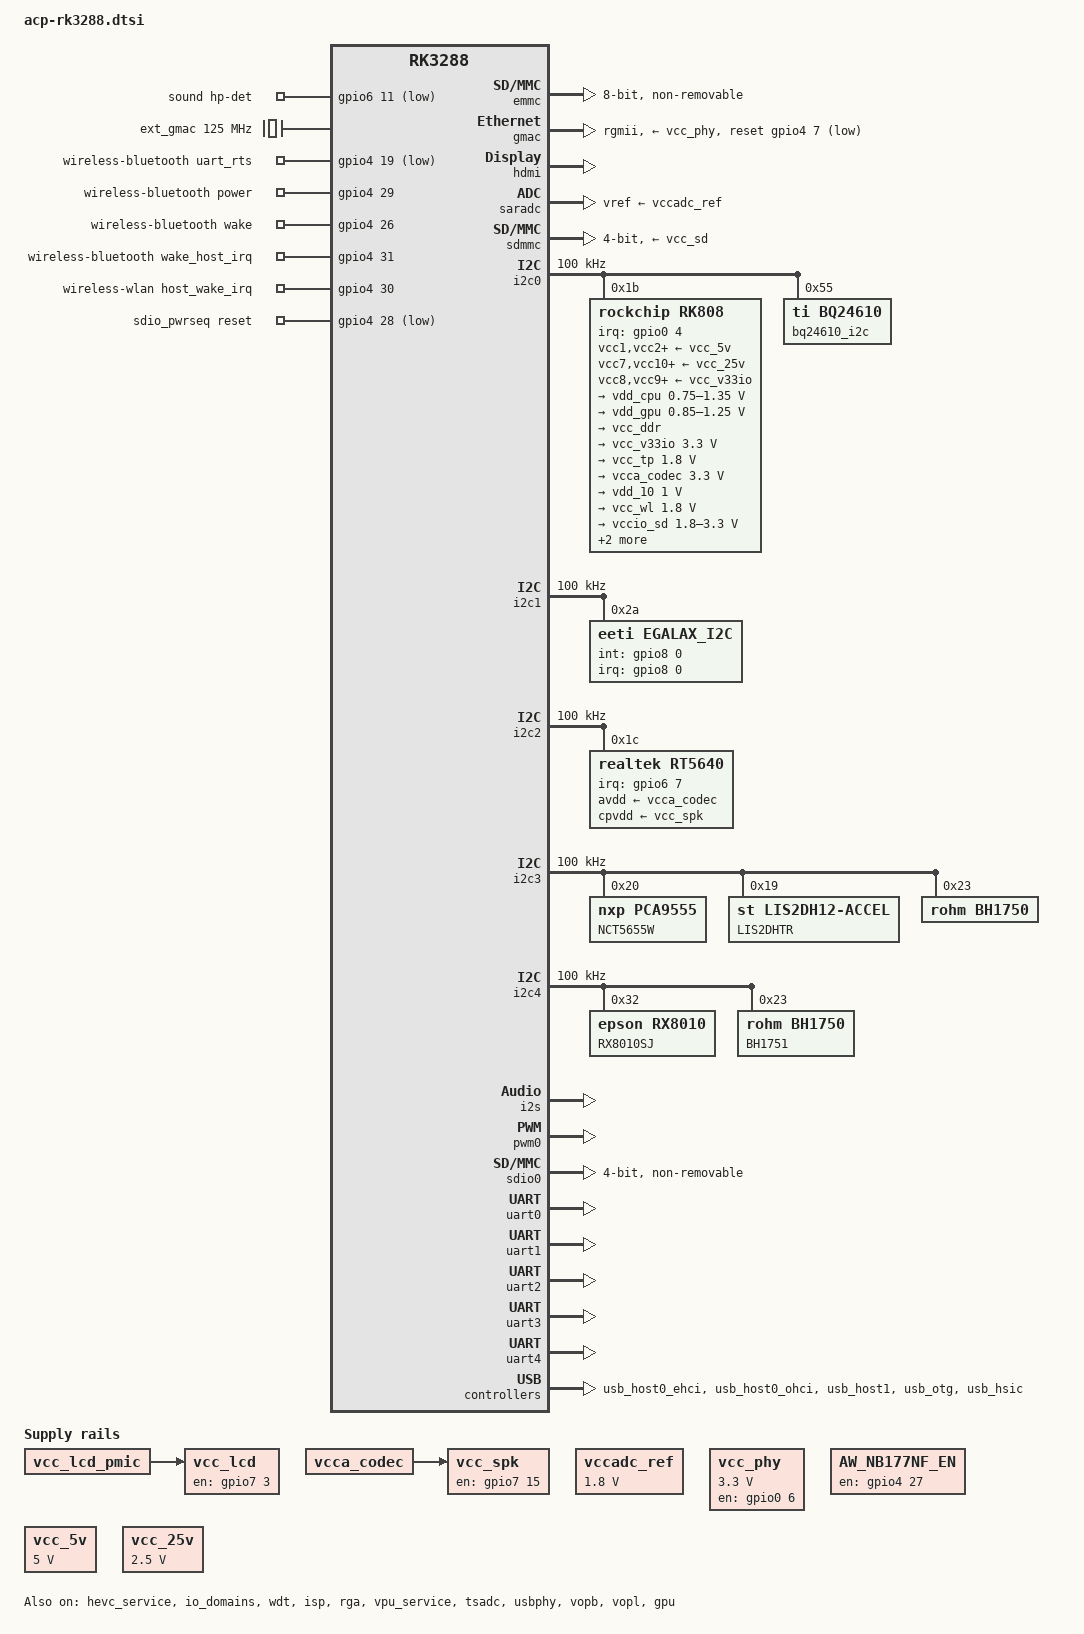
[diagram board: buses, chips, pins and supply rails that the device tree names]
/*
 * Copyright (c) 2015~2017 Fuzhou Rockchip Electronics Co., Ltd
 *
 * This file is dual-licensed: you can use it either under the terms
 * of the GPL or the X11 license, at your option. Note that this dual
 * licensing only applies to this file, and not this project as a
 * whole.
 *
 *  a) This file is free software; you can redistribute it and/or
 *     modify it under the terms of the GNU General Public License as
 *     published by the Free Software Foundation; either version 2 of the
 *     License, or (at your option) any later version.
 *
 *     This file is distributed in the hope that it will be useful,
 *     but WITHOUT ANY WARRANTY; without even the implied warranty of
 *     MERCHANTABILITY or FITNESS FOR A PARTICULAR PURPOSE.  See the
 *     GNU General Public License for more details.
 *
 * Or, alternatively,
 *
 *  b) Permission is hereby granted, free of charge, to any person
 *     obtaining a copy of this software and associated documentation
 *     files (the "Software"), to deal in the Software without
 *     restriction, including without limitation the rights to use,
 *     copy, modify, merge, publish, distribute, sublicense, and/or
 *     sell copies of the Software, and to permit persons to whom the
 *     Software is furnished to do so, subject to the following
 *     conditions:
 *
 *     The above copyright notice and this permission notice shall be
 *     included in all copies or substantial portions of the Software.
 *
 *     THE SOFTWARE IS PROVIDED "AS IS", WITHOUT WARRANTY OF ANY KIND,
 *     EXPRESS OR IMPLIED, INCLUDING BUT NOT LIMITED TO THE WARRANTIES
 *     OF MERCHANTABILITY, FITNESS FOR A PARTICULAR PURPOSE AND
 *     NONINFRINGEMENT. IN NO EVENT SHALL THE AUTHORS OR COPYRIGHT
 *     HOLDERS BE LIABLE FOR ANY CLAIM, DAMAGES OR OTHER LIABILITY,
 *     WHETHER IN AN ACTION OF CONTRACT, TORT OR OTHERWISE, ARISING
 *     FROM, OUT OF OR IN CONNECTION WITH THE SOFTWARE OR THE USE OR
 *     OTHER DEALINGS IN THE SOFTWARE.
 */

#include <dt-bindings/pwm/pwm.h>
#include <dt-bindings/input/input.h>
#include "rk3288.dtsi"

/ {
	chosen {
		bootargs = "earlycon=uart8250,mmio32,0xff690000 swiotlb=1";
	};

	edp_panel: edp-panel {
		status = "disabled";

		ports {
			panel_in_edp: endpoint {
				remote-endpoint = <&edp_out_panel>;
			};
		};
	};

	lvds_panel: lvds-panel {
		status = "disabled";
		ports {
			panel_in_lvds: endpoint {
				remote-endpoint = <&lvds_out_panel>;
			};
		};
	};

	sound: sound {
		compatible = "simple-audio-card";
		pinctrl-0 = <&audio_det_pin>;
		simple-audio-card,format = "i2s";
		simple-audio-card,name = "rockchip,rt5640-codec";
		simple-audio-card,mclk-fs = <512>;
		simple-audio-card,widgets =
			"Microphone", "Mic Jack",
			"Microphone", "DMic",
			"Headphone", "Headphone Jack",
			"Speaker", "Speaker";
		simple-audio-card,routing =
			"Mic Jack", "MICBIAS1",
			"IN2P", "Mic Jack",
			"IN2N", "Mic Jack",
			"IN1P", "DMic",
			"Headphone Jack", "HPOL",
			"Headphone Jack", "HPOR",
			"Speaker", "SPOLP",
			"Speaker", "SPOLN",
			"Speaker", "SPORP",
			"Speaker", "SPORN";
		simple-audio-card,hp-det-gpio = <&gpio6 11 GPIO_ACTIVE_LOW>;
		/*simple-audio-card,mic-det-gpio = <&gpio0 11 GPIO_ACTIVE_LOW>;*/

		simple-audio-card,dai-link@0 {
			format = "i2s";
			cpu {
				sound-dai = <&i2s>;
			};

			codec {
				sound-dai = <&rt5640>;
			};
		};

		simple-audio-card,dai-link@1 {
			format = "i2s";
			cpu {
				sound-dai = <&i2s>;
			};

			codec {
				sound-dai = <&hdmi>;
			};
		};
	};

	ext_gmac: external-gmac-clock {
		compatible = "fixed-clock";
		clock-frequency = <125000000>;
		clock-output-names = "ext_gmac";
		#clock-cells = <0>;
	};

	vccadc_ref: vccadc-ref {
		compatible = "regulator-fixed";
		regulator-name = "vcc1v8_sys";
		regulator-always-on;
		regulator-boot-on;
		regulator-min-microvolt = <1800000>;
		regulator-max-microvolt = <1800000>;
	};

	vcc_lcd: vcc-lcd {
		compatible = "regulator-fixed";
		regulator-boot-on;
		enable-active-high;
		gpio = <&gpio7 3 GPIO_ACTIVE_HIGH>;
		pinctrl-names = "default";
		pinctrl-0 = <&lcd_en>;
		regulator-name = "vcc_lcd";
		vin-supply = <&vcc_lcd_pmic>;
	};

	vcc_spk: vcc-spk {
		compatible = "regulator-fixed";
		regulator-boot-on;
		enable-active-high;
		gpio = <&gpio7 15 GPIO_ACTIVE_HIGH>;
		pinctrl-names = "default";
		pinctrl-0 = <&spk_en>;
		regulator-name = "vcc_spk";
		vin-supply = <&vcca_codec>;
	};

	vcc_phy: vcc-phy-regulator {
		compatible = "regulator-fixed";
		gpio = <&gpio0 6 GPIO_ACTIVE_HIGH>;
		pinctrl-0 = <&eth_phy_pwr>;
		enable-active-high;
		pinctrl-names = "default";
		regulator-name = "vcc_phy";
		regulator-min-microvolt = <3300000>;
		regulator-max-microvolt = <3300000>;
		regulator-always-on;
		regulator-boot-on;
	};

	AW_NB177NF_EN: aw-nb177nf {
		compatible = "regulator-fixed";
		pinctrl-names = "default";
		gpio = <&gpio4 27 GPIO_ACTIVE_LOW>;
		enable-active-high;
		regulator-name = "AW_NB177NF";
		regulator-always-on;
		regulator-boot-on;
	};

	wireless-bluetooth {
		compatible = "bluetooth-platdata";
		uart_rts_gpios = <&gpio4 19 GPIO_ACTIVE_LOW>;
		pinctrl-names = "default", "rts_gpio";
		clock-names = "ext_clock";
		pinctrl-0 = <&uart0_rts>;
		pinctrl-1 = <&uart0_gpios>;
		BT,power_gpio		= <&gpio4 29 GPIO_ACTIVE_HIGH>;
		BT,wake_gpio		= <&gpio4 26 GPIO_ACTIVE_HIGH>;
		BT,wake_host_irq	= <&gpio4 31 GPIO_ACTIVE_HIGH>;
		status = "okay";
	};

	wireless-wlan {
		compatible = "wlan-platdata";
		rockchip,grf = <&grf>;
		wifi_chip_type = "rtl8723bs";
		sdio_vref = <1800>;
		WIFI,host_wake_irq = <&gpio4 30 GPIO_ACTIVE_HIGH>;
		status = "okay";
	};

	sdio_pwrseq: sdio-pwrseq {
		compatible = "mmc-pwrseq-simple";
		clocks = <&rk808 1>;
		clock-names = "ext_clock";
		pinctrl-names = "default";
		pinctrl-0 = <&wifi_enable_h>;

		/*
		 * On the module itself this is one of these (depending
		 * on the actual card populated):
		 * - SDIO_RESET_L_WL_REG_ON
		 * - PDN (power down when low)
		 */
		reset-gpios = <&gpio4 28 GPIO_ACTIVE_LOW>;
	};

	bt_host_wake: bt-host-wake {
		rockchip,pins = <4 31 RK_FUNC_GPIO &pcfg_pull_up>;
	};

	vcc_5v: vsys-regulator {
		compatible = "regulator-fixed";
		regulator-name = "vcc_5v";
		regulator-min-microvolt = <5000000>;
		regulator-max-microvolt = <5000000>;
		regulator-always-on;
		regulator-boot-on;
	};

	vcc_25v: vcc25v-regulator {
		compatible = "regulator-fixed";
		regulator-name = "vcc_25v";
		regulator-min-microvolt = <2500000>;
		regulator-max-microvolt = <2500000>;
		regulator-always-on;
		regulator-boot-on;
	};
};

&emmc {
	bus-width = <8>;
	cap-mmc-highspeed;
	disable-wp;
	non-removable;
	num-slots = <1>;
	pinctrl-names = "default";
	pinctrl-0 = <&emmc_clk &emmc_cmd &emmc_pwr &emmc_bus8>;
	max-frequency = <100000000>;
	mmc-hs200-1_8v;
	mmc-ddr-1_8v;
	status = "okay";
};

&gmac {
	phy-supply = <&vcc_phy>;
	phy-mode = "rgmii";
	clock_in_out = "input";
	snps,reset-gpio = <&gpio4 7 0>;
	snps,reset-active-low;
	snps,reset-delays-us = <0 10000 50000>;
	assigned-clocks = <&cru SCLK_MAC>;
	assigned-clock-parents = <&ext_gmac>;
	pinctrl-names = "default";
	pinctrl-0 = <&rgmii_pins>;
	tx_delay = <0x20>;
	rx_delay = <0x01>;
	status = "okay";
};

&hdmi {
	#address-cells = <1>;
	#size-cells = <0>;
	#sound-dai-cells = <0>;
	status = "okay";
};

&saradc {
	vref-supply = <&vccadc_ref>;
	status = "okay";
};

&sdmmc {
	supports-sd;
	bus-width = <4>;
	cap-mmc-highspeed;
	cap-sd-highspeed;
	sd-uhs-sdr104;
	card-detect-delay = <200>;
	disable-wp;			/* wp not hooked up */
	num-slots = <1>;
	pinctrl-names = "default";
	pinctrl-0 = <&sdmmc_clk &sdmmc_cmd &sdmmc_cd &sdmmc_bus4>;
	status = "okay";
	vmmc-supply = <&vcc_sd>;
	vqmmc-supply = <&vccio_sd>;
};

&edp {
	force-hpd;
	status = "disabled";

	ports {
		edp_out: port@1 {
			reg = <1>;
			#address-cells = <1>;
			#size-cells = <0>;
			edp_out_panel: endpoint {
				reg = <0>;
				remote-endpoint = <&panel_in_edp>;
			};
		};
	};
};

&hevc_service {
	status = "okay";
};

&i2c0 {
	clock-frequency = <100000>;
	status = "okay";

	rk808: pmic@1b {
		compatible = "rockchip,rk808";
		reg = <0x1b>;
		interrupt-parent = <&gpio0>;
		interrupts = <4 IRQ_TYPE_LEVEL_LOW>;
		pinctrl-names = "default";
		pinctrl-0 = <&pmic_int &global_pwroff>;
		rockchip,system-power-controller;
		wakeup-source;
		#clock-cells = <1>;
		clock-output-names = "xin32k", "rk808-clkout2";

		vcc1-supply = <&vcc_5v>; // 5
		vcc2-supply = <&vcc_5v>; // 5
		vcc3-supply = <&vcc_5v>; // 5
		vcc4-supply = <&vcc_5v>; // 5
		vcc6-supply = <&vcc_5v>; // 5
		vcc7-supply = <&vcc_25v>; // 2.5
		vcc8-supply = <&vcc_v33io>; // 3.3
		vcc9-supply = <&vcc_v33io>; // 3.3
		vcc10-supply = <&vcc_25v>; // 2.5
		vcc11-supply = <&vcc_25v>; // 2.5
		vcc12-supply = <&vcc_v33io>; // 3.3
		vddio-supply = <&vcc_v33io>; // 3.3

		regulators {
			vdd_cpu: DCDC_REG1 {
				regulator-always-on;
				regulator-boot-on;
				regulator-min-microvolt = <750000>;
				regulator-max-microvolt = <1350000>;
				regulator-name = "vdd_arm";
				regulator-state-mem {
					regulator-off-in-suspend;
				};
			};

			vdd_gpu: DCDC_REG2 {
				regulator-always-on;
				regulator-boot-on;
				regulator-min-microvolt = <850000>;
				regulator-max-microvolt = <1250000>;
				regulator-name = "vdd_gpu";
				regulator-ramp-delay = <6000>;
				regulator-state-mem {
					regulator-on-in-suspend;
					regulator-suspend-microvolt = <1000000>;
				};
			};

			vcc_ddr: DCDC_REG3 {
				regulator-always-on;
				regulator-boot-on;
				regulator-name = "vcc_ddr";
				regulator-state-mem {
					regulator-on-in-suspend;
				};
			};

			vcc_v33io: DCDC_REG4 {
				regulator-always-on;
				regulator-boot-on;
				regulator-min-microvolt = <3300000>;
				regulator-max-microvolt = <3300000>;
				regulator-name = "vcc_v33io";
				regulator-state-mem {
					regulator-on-in-suspend;
					regulator-suspend-microvolt = <3300000>;
				};
			};

			vcc_tp: LDO_REG1 {
				regulator-always-on;
				regulator-boot-on;
				regulator-min-microvolt = <1800000>;
				regulator-max-microvolt = <1800000>;
				regulator-name = "vcc_tp";
				regulator-state-mem {
					regulator-off-in-suspend;
				};
			};

			vcca_codec: LDO_REG2 {
				regulator-always-on;
				regulator-boot-on;
				regulator-min-microvolt = <3300000>;
				regulator-max-microvolt = <3300000>;
				regulator-name = "vcca_codec";
				regulator-state-mem {
					regulator-on-in-suspend;
					regulator-suspend-microvolt = <3300000>;
				};
			};

			vdd_10: LDO_REG3 {
				regulator-always-on;
				regulator-boot-on;
				regulator-min-microvolt = <1000000>;
				regulator-max-microvolt = <1000000>;
				regulator-name = "vdd_10";
				regulator-state-mem {
					regulator-on-in-suspend;
					regulator-suspend-microvolt = <1000000>;
				};
			};

			vcc_wl: LDO_REG4 {
				regulator-always-on;
				regulator-boot-on;
				regulator-min-microvolt = <1800000>;
				regulator-max-microvolt = <1800000>;
				regulator-name = "vcc_wl";
				regulator-state-mem {
					regulator-on-in-suspend;
					regulator-suspend-microvolt = <1800000>;
				};
			};

			vccio_sd: LDO_REG5 {
				regulator-always-on;
				regulator-boot-on;
				regulator-min-microvolt = <1800000>;
				regulator-max-microvolt = <3300000>;
				regulator-name = "vccio_sd";
				regulator-state-mem {
					regulator-on-in-suspend;
					regulator-suspend-microvolt = <3300000>;
				};
			};

			vdd10_lcd: LDO_REG6 {
				regulator-always-on;
				regulator-boot-on;
				regulator-min-microvolt = <1100000>;
				regulator-max-microvolt = <1100000>;
				regulator-name = "vdd10_lcd";
				regulator-state-mem {
					regulator-on-in-suspend;
					regulator-suspend-microvolt = <1100000>;
				};
			};

			vcc_18: LDO_REG7 {
				regulator-always-on;
				regulator-boot-on;
				regulator-min-microvolt = <1800000>;
				regulator-max-microvolt = <1800000>;
				regulator-name = "vcc_18";
				regulator-state-mem {
					regulator-on-in-suspend;
					regulator-suspend-microvolt = <1800000>;
				};
			};

			vcc18_lcd: LDO_REG8 {
				regulator-always-on;
				regulator-boot-on;
				regulator-min-microvolt = <1800000>;
				regulator-max-microvolt = <1800000>;
				regulator-name = "vcc18_lcd";
				regulator-state-mem {
					regulator-on-in-suspend;
					regulator-suspend-microvolt = <1800000>;
				};
			};

			vcc_sd: SWITCH_REG1 {
				regulator-always-on;
				regulator-boot-on;
				regulator-name = "vcc_sd";
				regulator-state-mem {
					regulator-on-in-suspend;
				};
			};

			vcc_lcd_pmic: SWITCH_REG2 {
				regulator-always-on;
				regulator-boot-on;
				regulator-name = "vcc_lcd_pmic";
				regulator-state-mem {
					regulator-on-in-suspend;
				};
			};
		};
	};

	bq24610_i2c@55 {
		compatible = "ti,bq24610";
		reg = <0x55>;
		status = "okay";
	};
};

&i2c1 {
	clock-frequency = <100000>;
	status = "okay";

	egalax_i2c@2a {
		compatible = "eeti,egalax_i2c";
		reg = <0x2a>;
		interrupt-parent = <&gpio8>;
		interrupts = <0 8>;
		int-gpios = <&gpio8 0 IRQ_TYPE_LEVEL_LOW>;
	};
};

&i2c2 {
	clock-frequency = <100000>;
	status = "okay";

	rt5640: rt5640@1c {
		#sound-dai-cells = <0>;
		compatible = "realtek,rt5640";
		reg = <0x1c>;
		clocks = <&cru SCLK_I2S0_OUT>;
		clock-names = "mclk";
		interrupt-parent = <&gpio6>;
		interrupts = <7 IRQ_TYPE_EDGE_FALLING>;
		pinctrl-names = "default";
		pinctrl-0 = <&i2s0_mclk>;
		avdd-supply = <&vcca_codec>;
		cpvdd-supply = <&vcc_spk>;
	};
};

&i2c3 {
	clock-frequency = <100000>;
	status = "okay";

	NCT5655W: pca9555@20 {
		compatible = "nxp,pca9555";
		reg = <0x20>;
		gpio-controller;
	};

	LIS2DHTR: lis2dhtr@19 {
		compatible = "st,lis2dh12-accel";
		reg = <0x19>;
	};

	BH1750: bh1750@23 {
		compatible = "rohm,bh1750";
		reg = <0x23>;
	};
};

&i2c4 {
	clock-frequency = <100000>;
	status = "okay";

	RX8010SJ: rx8010sj@32 {
		compatible = "epson,rx8010";
		reg = <0x32>;
	};

	BH1751: bh1751@23 {
		compatible = "rohm,bh1750";
		reg = <0x23>;
	};
};

&i2s {
	#sound-dai-cells = <0>;
	status = "okay";
};

&io_domains {
	status = "okay";

	audio-supply = <&vcc_18>;
	sdcard-supply = <&vccio_sd>;
	wifi-supply = <&vcc_18>;
};

&wdt {
	status = "okay";
};

&pwm0 {
	status = "okay";
};

&isp {
	status = "okay";
};

&isp_mmu {
	status = "okay";
};

&rga {
	status = "okay";
};

&sdio0 {
	status = "okay";

	clock-frequency = <50000000>;
	clock-freq-min-max = <200000 50000000>;

	bus-width = <4>;
	cap-sd-highspeed;
	cap-sdio-irq;
	disable-wp;
	keep-power-in-suspend;
	mmc-pwrseq = <&sdio_pwrseq>;
	non-removable;
	num-slots = <1>;
	pinctrl-names = "default";
	pinctrl-0 = <&sdio0_bus4 &sdio0_cmd &sdio0_clk &sdio0_int &wireless_gpios>;
	sd-uhs-sdr104;
	supports-sdio;
};

&uart0 {
	pinctrl-names = "default";
	pinctrl-0 = <&uart0_xfer &uart0_cts>;
	status = "okay";
};

&uart1 {
	status = "okay";
};

&uart2 {
	status = "okay";
};

&uart3 {
	pinctrl-names = "default";
	pinctrl-0 = <&uart3_xfer &uart3_cts>;
	status = "okay";
};

&uart4 {
	status = "okay";
};

&vpu_service {
	status = "okay";
};

&tsadc {
	rockchip,hw-tshut-mode = <0>; /* tshut mode 0:CRU 1:GPIO */
	rockchip,hw-tshut-polarity = <1>; /* tshut polarity 0:LOW 1:HIGH */
	pinctrl-1 = <&otp_gpio>;

	status = "okay";
};

&usbphy {
	status = "okay";
};

&usb_host0_ehci {
	pinctrl-0 = <&usb_typeAB &usb_camera &usb_reset &usb_musb1>;
	rockchip-relinquish-port;
	status = "okay";
};

&usb_host0_ohci {
	status = "okay";
};

&usb_host1 {
	status = "okay";
};

&usb_otg {
	status = "okay";
};

&usb_hsic {
	status = "okay";
};

&lvds {
	status = "disabled";
	ports {
		lvds_out: port@1 {
			reg = <1>;
			#address-cells = <1>;
			#size-cells = <0>;

			lvds_out_panel: endpoint@0 {
				reg = <0>;
				remote-endpoint = <&panel_in_lvds>;
			};
		};
	};
};

&vopb {
	status = "okay";
};

&vopb_mmu {
	status = "okay";
};

&vopl {
	status = "okay";
};

&vopl_mmu {
	status = "okay";
};

&cpu0 {
	cpu0-supply = <&vdd_cpu>;
};

&gpu {
	status = "okay";
	mali-supply = <&vdd_gpu>;
};

&rockchip_suspend {
	status = "okay";
};

&pinctrl {
	pcfg_pull_none_drv_8ma: pcfg-pull-none-drv-8ma {
		drive-strength = <8>;
	};

	pcfg_pull_up_drv_8ma: pcfg-pull-up-drv-8ma {
		bias-pull-up;
		drive-strength = <8>;
	};

	pmic {
		pmic_int: pmic-int {
			rockchip,pins = <RK_GPIO0 4 RK_FUNC_GPIO &pcfg_pull_up>;
		};
	};

	touch_pin {
		touch_int: touch-int {
			rockchip,pins = <8 0 RK_FUNC_GPIO &pcfg_pull_up>;
		};
		touch_rst: touch-rst {
			rockchip,pins = <8 1 RK_FUNC_GPIO &pcfg_pull_up>;
		};
	};

	sdio-pwrseq {
		wifi_enable_h: wifi-enable-h {
			rockchip,pins = <4 28 RK_FUNC_GPIO &pcfg_pull_none>;
		};
	};

	sdmmc {
		/*
		 * Default drive strength isn't enough to achieve even
		 * high-speed mode on EVB board so bump up to 8ma.
		 */
		sdmmc_bus4: sdmmc-bus4 {
			rockchip,pins = <6 16 RK_FUNC_1 &pcfg_pull_up_drv_8ma>,
					<6 17 RK_FUNC_1 &pcfg_pull_up_drv_8ma>,
					<6 18 RK_FUNC_1 &pcfg_pull_up_drv_8ma>,
					<6 19 RK_FUNC_1 &pcfg_pull_up_drv_8ma>;
		};

		sdmmc_clk: sdmmc-clk {
			rockchip,pins = <6 20 RK_FUNC_1 &pcfg_pull_none_drv_8ma>;
		};

		sdmmc_cmd: sdmmc-cmd {
			rockchip,pins = <6 21 RK_FUNC_1 &pcfg_pull_up_drv_8ma>;
		};

		sdmmc_pwr: sdmmc-pwr {
			rockchip,pins = <7 11 RK_FUNC_GPIO &pcfg_pull_none>;
		};
	};

	lcd {
		lcd_en: lcd-en  {
			rockchip,pins = <7 3 RK_FUNC_GPIO &pcfg_pull_none>,
				<8 8 RK_FUNC_GPIO &pcfg_pull_none>;
		};
	};

	pmic {
		pmic_int: pmic-int {
			rockchip,pins = <0 4 RK_FUNC_GPIO &pcfg_pull_up>;
		};
	};

	usb_h1_en {
		usb_typeAB: usb-typeAB {
			rockchip,pins = <7 13 RK_FUNC_GPIO &pcfg_pull_none>;
		};

		usb_camera: usb-camera {
			rockchip,pins = <7 14 RK_FUNC_GPIO &pcfg_pull_none>;
		};

		usb_reset: usb-reset {
			rockchip,pins = <0 17 RK_FUNC_GPIO &pcfg_pull_none>;
		};

		usb_musb1: usb-musb1 {
			rockchip,pins = <0 12 RK_FUNC_GPIO &pcfg_pull_none>;
		};
	};

	spk-ctrl {
		spk_en: spk-en {
			rockchip,pins = <7 15 RK_FUNC_GPIO &pcfg_pull_none>;
		};
	};

	eth_phy {
		eth_phy_pwr: eth-phy-pwr {
			rockchip,pins = <0 6 RK_FUNC_GPIO &pcfg_pull_none>;
		};
	};

	wireless-bluetooth {
		uart0_gpios: uart0-gpios {
			rockchip,pins = <4 19 RK_FUNC_GPIO &pcfg_pull_none>;
		};

		wireless_gpios: wireless-gpios {
			rockchip,pins = <4 26 RK_FUNC_GPIO &pcfg_pull_none>,
				<4 27 RK_FUNC_GPIO &pcfg_pull_none>,
				<4 29 RK_FUNC_GPIO &pcfg_pull_none>,
				<4 30 RK_FUNC_GPIO &pcfg_pull_none>,
				<4 31 RK_FUNC_GPIO &pcfg_pull_none>;
		};
	};

	Audio-gpio {
		audio_det_pin: hp-det-pin {
			rockchip,pins = <6 11 RK_FUNC_GPIO &pcfg_pull_none>,
			<0 11 RK_FUNC_GPIO &pcfg_pull_none>;
		};
	};
};
